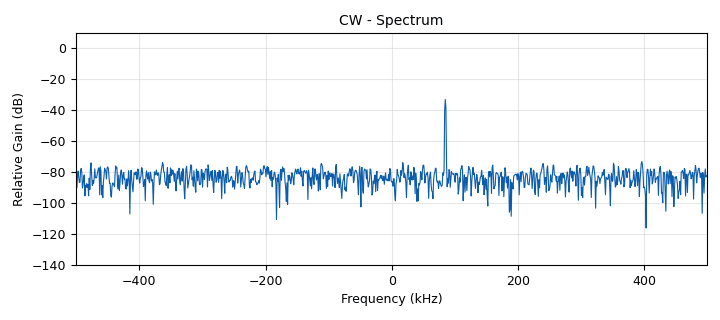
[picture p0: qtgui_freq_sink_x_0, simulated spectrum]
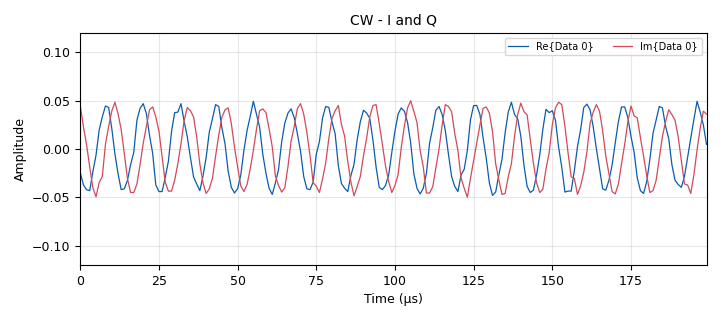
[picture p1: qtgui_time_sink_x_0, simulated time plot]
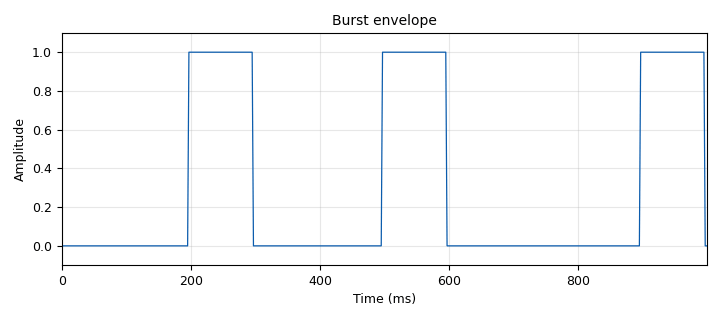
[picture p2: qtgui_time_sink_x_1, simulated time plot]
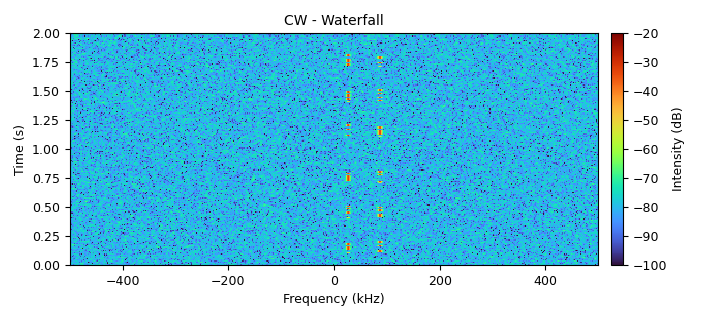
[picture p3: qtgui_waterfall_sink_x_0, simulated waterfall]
options:
  parameters:
    author: luojf
    generate_options: qt_gui
    id: fsk2_capture
    output_language: python
    title: 2FSK capture
  states: {}

blocks:
- name: adc_bits
  id: variable
  parameters:
    value: '12'
  states: {}
- name: adc_max
  id: variable
  parameters:
    value: 1.0-1.0/adc_scale
  states: {}
- name: adc_scale
  id: variable
  parameters:
    value: 2**(adc_bits-1)
  states: {}
- name: capture_samples
  id: variable
  parameters:
    value: int(samp_rate*capture_seconds)
  states: {}
- name: capture_seconds
  id: variable
  parameters:
    value: '2'
  states: {}
- name: center_hz
  id: variable
  parameters:
    value: '50000'
  states: {}
- name: dc_i
  id: variable
  parameters:
    value: '0'
  states: {}
- name: dc_q
  id: variable
  parameters:
    value: '0'
  states: {}
- name: display_decim
  id: variable
  parameters:
    value: '1000'
  states: {}
- name: freq_offset_hz
  id: variable
  parameters:
    value: '5000'
  states: {}
- name: fsk_deviation_hz
  id: variable
  parameters:
    value: '30000'
  states: {}
- name: iq_mag_db
  id: variable
  parameters:
    value: '0'
  states: {}
- name: iq_phase_deg
  id: variable
  parameters:
    value: '0'
  states: {}
- name: noise_voltage
  id: variable
  parameters:
    value: signal_amp*10**(-snr_db/20)
  states: {}
- name: ramp_samples
  id: variable
  parameters:
    value: int(samp_rate*0.002)
  states: {}
- name: rx_gain
  id: variable
  parameters:
    value: 10**(rx_gain_db/20)
  states: {}
- name: rx_gain_db
  id: variable
  parameters:
    value: '0'
  states: {}
- name: samp_rate
  id: variable
  parameters:
    value: '1000000'
  states: {}
- name: samples_per_symbol
  id: variable
  parameters:
    value: int(samp_rate/symbol_rate)
  states: {}
- name: signal_amp
  id: variable
  parameters:
    value: 10**(signal_dbfs/20)
  states: {}
- name: signal_dbfs
  id: variable
  parameters:
    value: '-27'
  states: {}
- name: slot_samples
  id: variable
  parameters:
    value: int(samp_rate*0.1)
  states: {}
- name: snr_db
  id: variable
  parameters:
    value: '20'
  states: {}
- name: symbol_rate
  id: variable
  parameters:
    value: '1000'
  states: {}
- name: analog_frequency_modulator_fc_0
  id: analog_frequency_modulator_fc
  parameters:
    sensitivity: 2*3.141592653589793/samp_rate
  states: {}
- name: analog_rail_ff_0
  id: analog_rail_ff
  parameters:
    hi: adc_max
    lo: '-1'
  states: {}
- name: analog_rail_ff_0_0
  id: analog_rail_ff
  parameters:
    hi: adc_max
    lo: '-1'
  states: {}
- name: blocks_add_const_vxx_0
  id: blocks_add_const_vxx
  parameters:
    const: complex(dc_i, dc_q)
    type: complex
  states: {}
- name: blocks_add_const_vxx_1
  id: blocks_add_const_vxx
  parameters:
    const: center_hz-fsk_deviation_hz
    type: float
  states: {}
- name: blocks_complex_to_float_0
  id: blocks_complex_to_float
  parameters: {}
  states: {}
- name: blocks_file_sink_0
  id: blocks_file_sink
  parameters:
    file: D:\workspace\preparation\dinov3_11\data\2FSK\2FSK_0001.cf32
    type: complex
    unbuffered: 'True'
  states: {}
- name: blocks_float_to_complex_0
  id: blocks_float_to_complex
  parameters: {}
  states: {}
- name: blocks_float_to_complex_1
  id: blocks_float_to_complex
  parameters: {}
  states: {}
- name: blocks_float_to_short_0
  id: blocks_float_to_short
  parameters:
    scale: adc_scale
  states: {}
- name: blocks_float_to_short_0_0
  id: blocks_float_to_short
  parameters:
    scale: adc_scale
  states: {}
- name: blocks_head_0
  id: blocks_head
  parameters:
    num_items: capture_samples
    type: complex
  states: {}
- name: blocks_keep_one_in_n_0
  id: blocks_keep_one_in_n
  parameters:
    n: display_decim
    type: float
  states: {}
- name: blocks_moving_average_xx_0
  id: blocks_moving_average_xx
  parameters:
    length: ramp_samples
    max_iter: '4000'
    scale: 1.0/ramp_samples
    type: float
  states: {}
- name: blocks_multiply_const_vxx_0
  id: blocks_multiply_const_vxx
  parameters:
    const: rx_gain
    type: complex
  states: {}
- name: blocks_multiply_const_vxx_1
  id: blocks_multiply_const_vxx
  parameters:
    const: 2*fsk_deviation_hz
    type: float
  states: {}
- name: blocks_multiply_const_vxx_1_0
  id: blocks_multiply_const_vxx
  parameters:
    const: signal_amp
    type: complex
  states: {}
- name: blocks_multiply_xx_0
  id: blocks_multiply_xx
  parameters:
    type: complex
  states: {}
- name: blocks_repeat_0
  id: blocks_repeat
  parameters:
    interp: slot_samples
    type: float
  states: {}
- name: blocks_repeat_1
  id: blocks_repeat
  parameters:
    interp: samples_per_symbol
    type: float
  states: {}
- name: blocks_short_to_float_0
  id: blocks_short_to_float
  parameters:
    scale: adc_scale
  states: {}
- name: blocks_short_to_float_0_0
  id: blocks_short_to_float
  parameters:
    scale: adc_scale
  states: {}
- name: blocks_throttle_0
  id: blocks_throttle
  parameters:
    samples_per_second: samp_rate
    type: complex
  states: {}
- name: blocks_uchar_to_float_0
  id: blocks_uchar_to_float
  parameters: {}
  states: {}
- name: blocks_vector_source_x_0
  id: blocks_vector_source_x
  parameters:
    repeat: 'True'
    type: float
    vector: '[0,1,0,0,1,0,0,1,0,0]'
  states: {}
- name: channels_channel_model_0
  id: channels_channel_model
  parameters:
    epsilon: '1.0'
    freq_offset: freq_offset_hz/samp_rate
    noise_voltage: noise_voltage
    seed: '20261004'
    taps: '[1+0j]'
  states: {}
- name: channels_iqbal_gen_0
  id: channels_iqbal_gen
  parameters:
    mag: iq_mag_db
    mode: '1'
    phase: iq_phase_deg
  states: {}
- name: digital_glfsr_source_x_0
  id: digital_glfsr_source_x
  parameters:
    degree: '15'
    mask: '0'
    repeat: 'True'
    seed: '11'
    type: byte
  states: {}
- name: qtgui_freq_sink_x_0
  id: qtgui_freq_sink_x
  parameters:
    bw: samp_rate
    fc: '0'
    fftsize: '1024'
    gui_hint: 1,0
    name: '"CW - Spectrum"'
    type: complex
    wintype: window.WIN_HANN
  states: {}
- name: qtgui_time_sink_x_0
  id: qtgui_time_sink_x
  parameters:
    gui_hint: 0,0
    name: '"CW - I and Q"'
    size: '200'
    srate: samp_rate
    type: complex
    ymax: '0.12'
    ymin: '-0.12'
  states: {}
- name: qtgui_time_sink_x_1
  id: qtgui_time_sink_x
  parameters:
    gui_hint: 3,0
    name: '"Burst envelope"'
    size: '1000'
    srate: samp_rate/display_decim
    type: float
    ymax: '1.1'
    ymin: '-0.1'
  states: {}
- name: qtgui_waterfall_sink_x_0
  id: qtgui_waterfall_sink_x
  parameters:
    bw: samp_rate
    fc: '0'
    fftsize: '512'
    gui_hint: 2,0
    int_max: '-20'
    int_min: '-100'
    name: '"CW - Waterfall"'
    type: complex
    wintype: window.WIN_HANN
  states: {}

connections:
- [analog_frequency_modulator_fc_0, '0', blocks_multiply_const_vxx_1_0, '0']
- [analog_rail_ff_0, '0', blocks_float_to_short_0, '0']
- [analog_rail_ff_0_0, '0', blocks_float_to_short_0_0, '0']
- [blocks_add_const_vxx_0, '0', blocks_complex_to_float_0, '0']
- [blocks_add_const_vxx_1, '0', analog_frequency_modulator_fc_0, '0']
- [blocks_complex_to_float_0, '0', analog_rail_ff_0, '0']
- [blocks_complex_to_float_0, '1', analog_rail_ff_0_0, '0']
- [blocks_float_to_complex_0, '0', blocks_multiply_xx_0, '1']
- [blocks_float_to_complex_1, '0', blocks_throttle_0, '0']
- [blocks_float_to_short_0, '0', blocks_short_to_float_0, '0']
- [blocks_float_to_short_0_0, '0', blocks_short_to_float_0_0, '0']
- [blocks_head_0, '0', blocks_file_sink_0, '0']
- [blocks_head_0, '0', qtgui_freq_sink_x_0, '0']
- [blocks_head_0, '0', qtgui_time_sink_x_0, '0']
- [blocks_head_0, '0', qtgui_waterfall_sink_x_0, '0']
- [blocks_keep_one_in_n_0, '0', qtgui_time_sink_x_1, '0']
- [blocks_moving_average_xx_0, '0', blocks_float_to_complex_0, '0']
- [blocks_moving_average_xx_0, '0', blocks_keep_one_in_n_0, '0']
- [blocks_multiply_const_vxx_0, '0', channels_iqbal_gen_0, '0']
- [blocks_multiply_const_vxx_1, '0', blocks_add_const_vxx_1, '0']
- [blocks_multiply_const_vxx_1_0, '0', blocks_multiply_xx_0, '0']
- [blocks_multiply_xx_0, '0', channels_channel_model_0, '0']
- [blocks_repeat_0, '0', blocks_moving_average_xx_0, '0']
- [blocks_repeat_1, '0', blocks_multiply_const_vxx_1, '0']
- [blocks_short_to_float_0, '0', blocks_float_to_complex_1, '0']
- [blocks_short_to_float_0_0, '0', blocks_float_to_complex_1, '1']
- [blocks_throttle_0, '0', blocks_head_0, '0']
- [blocks_uchar_to_float_0, '0', blocks_repeat_1, '0']
- [blocks_vector_source_x_0, '0', blocks_repeat_0, '0']
- [channels_channel_model_0, '0', blocks_multiply_const_vxx_0, '0']
- [channels_iqbal_gen_0, '0', blocks_add_const_vxx_0, '0']
- [digital_glfsr_source_x_0, '0', blocks_uchar_to_float_0, '0']

metadata:
  file_format: 1
  grc_version: 3.10.12.0
